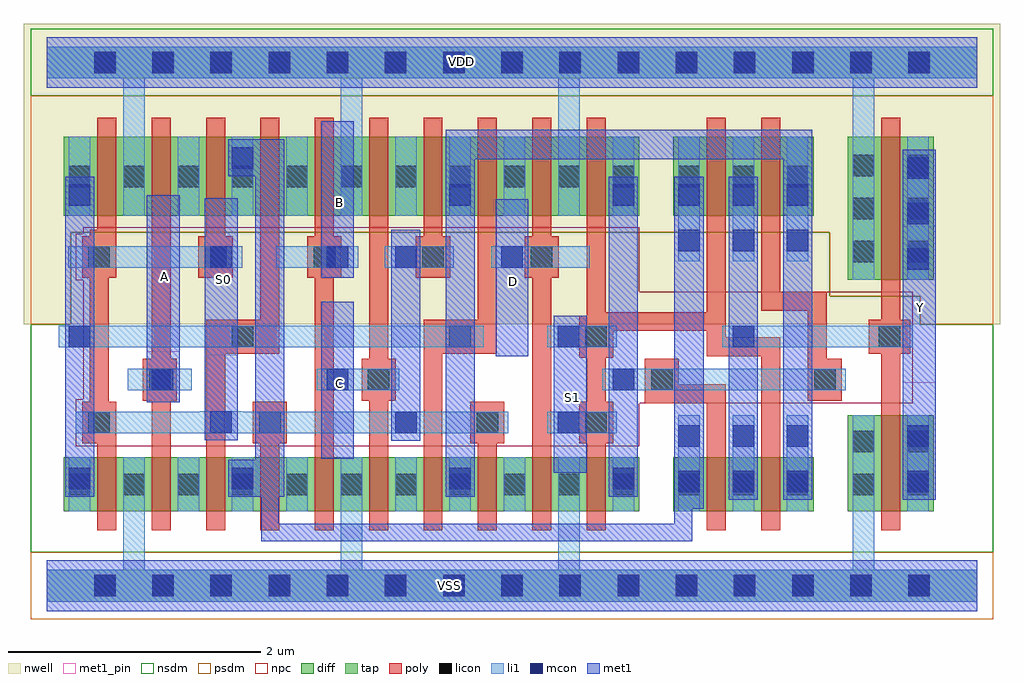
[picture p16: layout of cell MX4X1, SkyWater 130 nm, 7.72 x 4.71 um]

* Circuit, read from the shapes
.subckt MX4X1 A B C D S0 S1 VDD VSS Y
XM1 VSS S0 n1 VSS sky130_fd_pr__nfet_01v8 w=0.425 l=0.15
XM2 n2 A VSS VSS sky130_fd_pr__nfet_01v8 w=0.425 l=0.15
XM3 n3 n1 n2 VSS sky130_fd_pr__nfet_01v8 w=0.425 l=0.15
XM4 n4 S0 n3 VSS sky130_fd_pr__nfet_01v8 w=0.425 l=0.15
XM5 VSS B n4 VSS sky130_fd_pr__nfet_01v8 w=0.425 l=0.15
XM6 n5 C VSS VSS sky130_fd_pr__nfet_01v8 w=0.425 l=0.15
XM7 n6 n1 n5 VSS sky130_fd_pr__nfet_01v8 w=0.425 l=0.15
XM8 n7 S0 n6 VSS sky130_fd_pr__nfet_01v8 w=0.425 l=0.15
XM9 VSS D n7 VSS sky130_fd_pr__nfet_01v8 w=0.425 l=0.15
XM10 n8 S1 VSS VSS sky130_fd_pr__nfet_01v8 w=0.425 l=0.15
XM11 n9 n8 n3 VSS sky130_fd_pr__nfet_01v8 w=0.425 l=0.15
XM12 n6 S1 n9 VSS sky130_fd_pr__nfet_01v8 w=0.425 l=0.15
XM13 Y n9 VSS VSS sky130_fd_pr__nfet_01v8 w=0.76 l=0.15
XM14 VDD S0 n1 VDD sky130_fd_pr__pfet_01v8 w=0.625 l=0.15
XM15 n10 A VDD VDD sky130_fd_pr__pfet_01v8 w=0.625 l=0.15
XM16 n3 S0 n10 VDD sky130_fd_pr__pfet_01v8 w=0.625 l=0.15
XM17 n11 n1 n3 VDD sky130_fd_pr__pfet_01v8 w=0.625 l=0.15
XM18 VDD B n11 VDD sky130_fd_pr__pfet_01v8 w=0.625 l=0.15
XM19 n12 C VDD VDD sky130_fd_pr__pfet_01v8 w=0.625 l=0.15
XM20 n6 S0 n12 VDD sky130_fd_pr__pfet_01v8 w=0.625 l=0.15
XM21 n13 n1 n6 VDD sky130_fd_pr__pfet_01v8 w=0.625 l=0.15
XM22 VDD D n13 VDD sky130_fd_pr__pfet_01v8 w=0.625 l=0.15
XM23 n8 S1 VDD VDD sky130_fd_pr__pfet_01v8 w=0.625 l=0.15
XM24 n9 S1 n3 VDD sky130_fd_pr__pfet_01v8 w=0.625 l=0.15
XM25 n6 n8 n9 VDD sky130_fd_pr__pfet_01v8 w=0.625 l=0.15
XM26 Y n9 VDD VDD sky130_fd_pr__pfet_01v8 w=1.13 l=0.15
.ends

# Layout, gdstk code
from math import pi, radians
import gdstk
lib = gdstk.Library(unit=1e-6, precision=1e-09)
def R(c, l, rs):  # rectangles x0, y0, x1, y1
    for r in rs: c.add(gdstk.rectangle(r[:2], r[2:], *l))
def A(c, l, x, y, w, h, nx, ny, dx, dy):  # array of equal rectangles
    R(c, l, [(x+i*dx, y+j*dy, x+i*dx+w, y+j*dy+h) for i in range(nx) for j in range(ny)])
def P(c, l, *ps):  # polygons
    for p in ps: c.add(gdstk.Polygon(p, *l))
nwell = (64, 20)
diff = (65, 20)
tap = (65, 44)
poly = (66, 20)
licon = (66, 44)
li1 = (67, 20)
mcon = (67, 44)
met1_pin = (68, 16)
met1 = (68, 20)
nsdm = (93, 44)
psdm = (94, 20)
npc = (95, 20)

l1m1_c_cdns_750710154090 = lib.new_cell('L1M1_C_CDNS_750710154090')
R(l1m1_c_cdns_750710154090, li1, [(-0.165,-0.085,0.165,0.085)])
R(l1m1_c_cdns_750710154090, mcon, [(-0.085,-0.085,0.085,0.085)])
R(l1m1_c_cdns_750710154090, met1, [(-0.115,-0.145,0.115,0.145)])

pyl1con_c_cdns_750710154 = lib.new_cell('PYL1CON_C_CDNS_750710154092')
R(pyl1con_c_cdns_750710154, poly, [(-0.135,-0.165,0.135,0.165)])
R(pyl1con_c_cdns_750710154, licon, [(-0.085,-0.085,0.085,0.085)])
R(pyl1con_c_cdns_750710154, npc, [(-0.185,-0.185,0.185,0.185)])

l1m1_c_cdns_750710154091 = lib.new_cell('L1M1_C_CDNS_750710154091')
R(l1m1_c_cdns_750710154091, li1, [(-0.085,-0.165,0.085,0.165)])
R(l1m1_c_cdns_750710154091, mcon, [(-0.085,-0.085,0.085,0.085)])
R(l1m1_c_cdns_750710154091, met1, [(-0.115,-0.145,0.115,0.145)])

l1m1_c_cdns_750710154094 = lib.new_cell('L1M1_C_CDNS_750710154094')
R(l1m1_c_cdns_750710154094, li1, [(-0.085,-0.345,0.085,0.345)])
R(l1m1_c_cdns_750710154094, mcon, [(-0.085,-0.265,0.085,-0.095), (-0.085,0.095,0.085,0.265)])
R(l1m1_c_cdns_750710154094, met1, [(-0.115,-0.325,0.115,0.325)])

l1m1_c_cdns_750710154098 = lib.new_cell('L1M1_C_CDNS_750710154098')
R(l1m1_c_cdns_750710154098, li1, [(-0.085,-0.525,0.085,0.525)])
A(l1m1_c_cdns_750710154098, mcon, -0.085, -0.445, 0.17, 0.17, 1, 3, 0, 0.36)
R(l1m1_c_cdns_750710154098, met1, [(-0.115,-0.505,0.115,0.505)])

licondiff_c_cdns_7507101 = lib.new_cell('LICONDIFF_C_CDNS_7507101540911')
R(licondiff_c_cdns_7507101, diff, [(-0.125,-0.145,0.125,0.145)])
R(licondiff_c_cdns_7507101, licon, [(-0.085,-0.085,0.085,0.085), (-0.085,-0.085,0.085,0.085)])

c_pyl1con_c_cdns_750710154 = lib.new_cell('PYL1CON_C_CDNS_750710154099')
R(c_pyl1con_c_cdns_750710154, poly, [(-0.135,-0.29,0.135,0.29)])
R(c_pyl1con_c_cdns_750710154, licon, [(-0.085,-0.085,0.085,0.085)])
R(c_pyl1con_c_cdns_750710154, npc, [(-0.185,-0.185,0.185,0.185)])

mx4x1 = lib.new_cell('MX4X1')
R(mx4x1, nwell, [(-0.18,2.07,7.54,4.445), (6.155,2.24,7.195,3.73), (-0.045,2.745,0.785,3.73), (0.425,2.745,1.215,3.73), (0.855,2.745,1.645,3.73), (1.285,2.745,2.245,3.73), (1.885,2.745,2.505,3.73), (2.145,2.745,2.935,3.73), (2.575,2.745,3.365,3.73), (3.005,2.745,3.965,3.73), (3.605,2.745,4.395,3.73), (4.035,2.745,4.865,3.73), (4.775,2.745,5.775,3.73), (5.415,2.745,6.245,3.73), (-0.18,3.875,7.54,4.445)])
A(mx4x1, diff, 0.4, 0.59, 0.15, 0.425, 10, 1, 0.43, 0)
A(mx4x1, diff, 0.55, 0.59, 0.055, 0.425, 3, 1, 0.43, 0)
A(mx4x1, diff, 0.605, 0.59, 0.225, 0.425, 3, 1, 0.43, 0)
A(mx4x1, diff, 2.27, 0.59, 0.055, 0.425, 3, 1, 0.43, 0)
A(mx4x1, diff, 2.325, 0.59, 0.225, 0.425, 3, 1, 0.43, 0)
A(mx4x1, diff, 0.4, 2.925, 0.15, 0.625, 10, 1, 0.43, 0)
A(mx4x1, diff, 0.55, 2.925, 0.055, 0.625, 3, 1, 0.43, 0)
A(mx4x1, diff, 0.605, 2.925, 0.225, 0.625, 3, 1, 0.43, 0)
A(mx4x1, diff, 2.27, 2.925, 0.055, 0.625, 3, 1, 0.43, 0)
A(mx4x1, diff, 2.325, 2.925, 0.225, 0.625, 3, 1, 0.43, 0)
R(mx4x1, diff, [(0.135,0.59,0.4,1.015), (1.84,0.59,2.065,1.015), (2.065,0.59,2.12,1.015), (3.56,0.59,3.785,1.015), (3.785,0.59,3.84,1.015), (3.99,0.59,4.215,1.015), (4.215,0.59,4.27,1.015), (4.42,0.59,4.685,1.015), (4.955,0.59,5.22,1.015), (5.22,0.59,5.37,1.015), (5.37,0.59,5.595,1.015), (5.595,0.59,5.65,1.015), (5.65,0.59,5.8,1.015), (5.8,0.59,6.065,1.015), (6.335,0.59,6.6,1.35), (6.6,0.59,6.75,1.35), (6.75,0.59,7.015,1.35), (6.335,2.42,6.6,3.55), (6.6,2.42,6.75,3.55), (6.75,2.42,7.015,3.55), (0.135,2.925,0.4,3.55), (1.84,2.925,2.065,3.55), (2.065,2.925,2.12,3.55), (3.56,2.925,3.785,3.55), (3.785,2.925,3.84,3.55), (3.99,2.925,4.215,3.55), (4.215,2.925,4.27,3.55), (4.42,2.925,4.685,3.55), (4.955,2.925,5.22,3.55), (5.22,2.925,5.37,3.55), (5.37,2.925,5.595,3.55), (5.595,2.925,5.65,3.55), (5.65,2.925,5.8,3.55), (5.8,2.925,6.065,3.55)])
A(mx4x1, poly, 0.4, 0.44, 0.15, 0.055, 10, 2, 0.43, 0.67)
A(mx4x1, poly, 0.4, 0.495, 0.15, 0.095, 10, 2, 0.43, 0.52)
A(mx4x1, poly, 0.4, 0.59, 0.15, 0.425, 10, 1, 0.43, 0)
A(mx4x1, poly, 0.4, 2.725, 0.15, 0.055, 9, 1, 0.43, 0)
A(mx4x1, poly, 1.69, 2.83, 0.15, 0.095, 3, 1, 0.43, 0)
A(mx4x1, poly, 3.41, 2.83, 0.15, 0.095, 3, 1, 0.43, 0)
A(mx4x1, poly, 0.4, 2.925, 0.15, 0.625, 10, 1, 0.43, 0)
A(mx4x1, poly, 0.4, 3.55, 0.15, 0.095, 10, 1, 0.43, 0)
A(mx4x1, poly, 0.4, 3.645, 0.15, 0.055, 10, 1, 0.43, 0)
R(mx4x1, poly, [(5.22,0.44,5.37,0.495), (5.65,0.44,5.8,0.495), (6.6,0.44,6.75,0.495), (5.22,0.495,5.37,0.59), (5.65,0.495,5.8,0.59), (6.6,0.495,6.75,0.59), (5.22,0.59,5.37,1.015), (5.65,0.59,5.8,1.015), (6.6,0.59,6.75,1.35), (5.22,1.015,5.37,1.11), (5.65,1.015,5.8,1.11), (5.22,1.11,5.37,1.165), (5.65,1.11,5.8,1.165), (6.6,1.35,6.75,1.445), (6.6,1.445,6.75,1.5), (6.6,2.27,6.75,2.325), (6.6,2.325,6.75,2.42), (6.6,2.42,6.75,3.55), (1.26,2.71,1.41,2.925), (2.98,2.715,3.13,2.925), (0.4,2.75,0.55,2.925), (4.27,2.775,4.42,2.83), (5.22,2.775,5.37,2.83), (5.65,2.775,5.8,2.83), (0.83,2.83,0.98,2.925), (5.22,2.83,5.37,2.925), (5.65,2.83,5.8,2.925), (5.22,2.925,5.37,3.55), (5.65,2.925,5.8,3.55), (5.22,3.55,5.37,3.645), (5.65,3.55,5.8,3.645), (6.6,3.55,6.75,3.645), (5.22,3.645,5.37,3.7), (5.65,3.645,5.8,3.7), (6.6,3.645,6.75,3.7)])
A(mx4x1, licon, 0.375, -0.085, 0.17, 0.17, 15, 2, 0.46, 4.14)
A(mx4x1, licon, 0.605, 0.715, 0.17, 0.17, 5, 2, 0.86, 2.435)
A(mx4x1, licon, 4.995, 0.715, 0.17, 0.17, 3, 2, 0.43, 2.435)
A(mx4x1, licon, 6.375, 2.56, 0.17, 0.17, 1, 3, 0, 0.34)
A(mx4x1, licon, 6.805, 2.56, 0.17, 0.17, 1, 3, 0, 0.34)
R(mx4x1, licon, [(0.175,0.715,0.345,0.885), (4.475,0.715,4.645,0.885), (6.375,0.715,6.545,0.885), (6.805,0.715,6.975,0.885), (6.375,1.055,6.545,1.225), (6.805,1.055,6.975,1.225), (0.175,3.15,0.345,3.32), (4.475,3.15,4.645,3.32)])
A(mx4x1, li1, 0.605, 0.59, 0.17, 0.425, 5, 1, 0.86, 0)
A(mx4x1, li1, 4.995, 0.59, 0.17, 0.425, 3, 1, 0.43, 0)
A(mx4x1, li1, 0.605, 2.925, 0.17, 0.625, 5, 1, 0.86, 0)
A(mx4x1, li1, 4.995, 2.925, 0.17, 0.625, 3, 1, 0.43, 0)
R(mx4x1, li1, [(0.175,0.59,0.345,1.015), (4.475,0.59,4.645,1.015), (6.375,0.59,6.545,1.35), (6.805,0.59,6.975,1.35), (6.375,2.42,6.545,3.55), (6.805,2.42,6.975,3.55), (0.175,2.925,0.345,3.55), (4.475,2.925,4.645,3.55)])
A(mx4x1, mcon, 0.375, -0.085, 0.17, 0.17, 15, 2, 0.46, 4.14)
R(mx4x1, met1_pin, [(4.01,0.895,4.27,2.135), (2.17,1.005,2.43,2.245), (6.77,1.605,7.03,2.845), (3.55,1.815,3.81,3.055), (1.25,1.825,1.51,3.065), (0.79,1.85,1.05,3.09), (2.17,2.435,2.43,3.675)])
R(mx4x1, nsdm, [(-0.005,0.46,0.615,1.145), (0.595,0.46,1.045,1.145), (1.025,0.46,1.475,1.145), (1.455,0.46,2.075,1.145), (2.055,0.46,2.335,1.145), (2.315,0.46,2.765,1.145), (2.745,0.46,3.195,1.145), (3.175,0.46,3.795,1.145), (3.775,0.46,4.225,1.145), (4.205,0.46,4.825,1.145), (4.815,0.46,5.605,1.145), (5.585,0.46,6.205,1.145), (6.195,0.46,7.155,1.48), (-0.125,3.875,7.485,4.405), (-0.125,3.93,7.485,4.35)])
P(mx4x1, nsdm, [(7.485,2.07),(6.91,2.07),(6.91,2.29),(6.195,2.29),(6.195,2.795),(0.19,2.795),(0.19,2.07),(-0.125,2.07),(-0.125,0.265),(7.485,0.265)])
R(mx4x1, psdm, [(-0.125,-0.265,7.485,0.265), (-0.125,-0.21,7.485,0.21), (6.195,2.29,7.155,3.68), (-0.005,2.795,0.615,3.68), (0.595,2.795,1.045,3.68), (1.025,2.795,1.475,3.68), (1.455,2.795,2.075,3.68), (2.055,2.795,2.335,3.68), (2.315,2.795,2.765,3.68), (2.745,2.795,3.195,3.68), (3.175,2.795,3.795,3.68), (3.775,2.795,4.225,3.68), (4.205,2.795,4.825,3.68), (4.815,2.795,5.605,3.68), (5.585,2.795,6.205,3.68)])
P(mx4x1, psdm, [(7.485,3.875),(-0.125,3.875),(-0.125,2.07),(0.19,2.07),(0.19,2.795),(6.195,2.795),(6.195,2.29),(6.91,2.29),(6.91,2.07),(7.485,2.07)])
P(mx4x1, npc, [(6.85,2.325),(4.685,2.325),(4.685,2.835),(0.29,2.835),(0.29,1.105),(4.685,1.105),(4.685,1.445),(6.85,1.445)])
mx4x1.add(gdstk.FlexPath([(5.295,1.165),(5.295,1.52)], 0.15, ends="flush", simple_path=True, layer=66, datatype=20))  # poly
mx4x1.add(gdstk.FlexPath([(5.725,2.775),(5.725,2.25)], 0.15, ends=(0, 0.075), simple_path=True, layer=66, datatype=20))  # poly
mx4x1.add(gdstk.FlexPath([(6.675,1.445),(6.675,2.325)], 0.15, ends="flush", simple_path=True, layer=66, datatype=20))  # poly
mx4x1.add(gdstk.FlexPath([(3.915,1.11),(3.915,2.83)], 0.15, ends="flush", simple_path=True, layer=66, datatype=20))  # poly
mx4x1.add(gdstk.FlexPath([(4.345,1.11),(4.345,2.83)], 0.15, ends="flush", simple_path=True, layer=66, datatype=20))  # poly
mx4x1.add(gdstk.FlexPath([(0.905,1.11),(0.905,2.83)], 0.15, ends="flush", simple_path=True, layer=66, datatype=20))  # poly
mx4x1.add(gdstk.FlexPath([(2.195,1.11),(2.195,2.83)], 0.15, ends="flush", simple_path=True, layer=66, datatype=20))  # poly
mx4x1.add(gdstk.FlexPath([(2.625,1.11),(2.625,2.83)], 0.15, ends="flush", simple_path=True, layer=66, datatype=20))  # poly
mx4x1.add(gdstk.FlexPath([(5.295,1.89),(5.295,2.78)], 0.15, ends=(0.075, 0), simple_path=True, layer=66, datatype=20))  # poly
mx4x1.add(gdstk.FlexPath([(5.295,1.89),(5.725,1.89)], 0.15, ends="extended", simple_path=True, layer=66, datatype=20))  # poly
mx4x1.add(gdstk.FlexPath([(5.725,1.89),(5.725,1.16)], 0.15, ends=(0.075, 0), simple_path=True, layer=66, datatype=20))  # poly
mx4x1.add(gdstk.FlexPath([(5.725,2.25),(6.095,2.25)], 0.15, ends="extended", simple_path=True, layer=66, datatype=20))  # poly
mx4x1.add(gdstk.FlexPath([(6.095,2.25),(6.095,1.465)], 0.15, ends=(0.075, 0), simple_path=True, layer=66, datatype=20))  # poly
mx4x1.add(gdstk.FlexPath([(5.37,2.09),(4.27,2.09)], 0.15, ends="flush", simple_path=True, layer=66, datatype=20))  # poly
mx4x1.add(gdstk.FlexPath([(5.37,1.52),(4.73,1.52)], 0.15, ends="flush", simple_path=True, layer=66, datatype=20))  # poly
mx4x1.add(gdstk.FlexPath([(1.765,2.83),(1.765,1.97)], 0.15, ends=(0, 0.075), simple_path=True, layer=66, datatype=20))  # poly
mx4x1.add(gdstk.FlexPath([(1.765,1.97),(1.335,1.97)], 0.15, ends="extended", simple_path=True, layer=66, datatype=20))  # poly
mx4x1.add(gdstk.FlexPath([(1.335,1.97),(1.335,1.11)], 0.15, ends=(0.075, 0), simple_path=True, layer=66, datatype=20))  # poly
mx4x1.add(gdstk.FlexPath([(3.485,2.83),(3.485,1.97)], 0.15, ends=(0, 0.075), simple_path=True, layer=66, datatype=20))  # poly
mx4x1.add(gdstk.FlexPath([(3.485,1.97),(3.055,1.97)], 0.15, ends="extended", simple_path=True, layer=66, datatype=20))  # poly
mx4x1.add(gdstk.FlexPath([(3.055,1.97),(3.055,1.11)], 0.15, ends=(0.075, 0), simple_path=True, layer=66, datatype=20))  # poly
mx4x1.add(gdstk.FlexPath([(0.415,1.125),(0.415,2.74)], 0.15, ends=(0, 0.075), simple_path=True, layer=66, datatype=20))  # poly
mx4x1.add(gdstk.FlexPath([(0.415,2.74),(0.55,2.74)], 0.15, ends=(0.075, 0), simple_path=True, layer=66, datatype=20))  # poly
mx4x1.add(gdstk.FlexPath([(0,4.14),(7.36,4.14)], 0.4, ends="flush", simple_path=True, layer=68, datatype=16))  # met1_pin
mx4x1.add(gdstk.FlexPath([(0,0),(7.36,0)], 0.4, ends="flush", simple_path=True, layer=68, datatype=16))  # met1_pin
mx4x1.add(gdstk.FlexPath([(5.035,0.68),(5.04,0.68)], 0.14, ends=(0.07, 0.115), simple_path=True, layer=68, datatype=20))  # met1
mx4x1.add(gdstk.FlexPath([(5.035,0.42),(5.035,0.68)], 0.14, ends="extended", simple_path=True, layer=68, datatype=20))  # met1
mx4x1.add(gdstk.FlexPath([(1.765,0.42),(5.035,0.42)], 0.14, ends="extended", simple_path=True, layer=68, datatype=20))  # met1
mx4x1.add(gdstk.FlexPath([(1.765,0.88),(1.765,0.42)], 0.14, ends=(0, 0.07), simple_path=True, layer=68, datatype=20))  # met1
mx4x1.add(gdstk.FlexPath([(0,4.14),(7.36,4.14)], 0.4, ends="flush", simple_path=True, layer=68, datatype=20))  # met1
mx4x1.add(gdstk.FlexPath([(2.3,1.005),(2.3,2.245)], 0.26, ends="flush", simple_path=True, layer=68, datatype=20))  # met1
mx4x1.add(gdstk.FlexPath([(0.92,1.45),(0.92,3.09)], 0.26, ends="flush", simple_path=True, layer=68, datatype=20))  # met1
mx4x1.add(gdstk.FlexPath([(1.38,1.15),(1.38,3.065)], 0.26, ends="flush", simple_path=True, layer=68, datatype=20))  # met1
mx4x1.add(gdstk.FlexPath([(0.26,0.705),(0.26,3.235)], 0.23, ends="flush", simple_path=True, layer=68, datatype=20))  # met1
mx4x1.add(gdstk.FlexPath([(6.9,0.68),(6.9,3.45)], 0.26, ends="flush", simple_path=True, layer=68, datatype=20))  # met1
mx4x1.add(gdstk.FlexPath([(5.51,0.68),(5.51,3.235)], 0.23, ends="flush", simple_path=True, layer=68, datatype=20))  # met1
mx4x1.add(gdstk.FlexPath([(1.765,0.705),(1.765,3.53)], 0.23, ends="flush", simple_path=True, layer=68, datatype=20))  # met1
mx4x1.add(gdstk.FlexPath([(4.56,0.705),(4.56,3.235)], 0.23, ends="flush", simple_path=True, layer=68, datatype=20))  # met1
mx4x1.add(gdstk.FlexPath([(5.08,0.68),(5.08,3.235)], 0.23, ends=(0.07, 0), simple_path=True, layer=68, datatype=20))  # met1
mx4x1.add(gdstk.FlexPath([(5.94,0.68),(5.94,3.49)], 0.23, ends=(0, 0.115), simple_path=True, layer=68, datatype=20))  # met1
mx4x1.add(gdstk.FlexPath([(3.27,0.705),(3.27,3.49)], 0.23, ends=(0, 0.115), simple_path=True, layer=68, datatype=20))  # met1
mx4x1.add(gdstk.FlexPath([(5.94,3.49),(3.27,3.49)], 0.23, ends="extended", simple_path=True, layer=68, datatype=20))  # met1
mx4x1.add(gdstk.FlexPath([(4.14,0.895),(4.14,2.135)], 0.26, ends="flush", simple_path=True, layer=68, datatype=20))  # met1
mx4x1.add(gdstk.FlexPath([(3.68,1.815),(3.68,3.055)], 0.26, ends="flush", simple_path=True, layer=68, datatype=20))  # met1
mx4x1.add(gdstk.FlexPath([(2.3,2.435),(2.3,3.675)], 0.26, ends="flush", simple_path=True, layer=68, datatype=20))  # met1
mx4x1.add(gdstk.FlexPath([(2.84,2.815),(2.84,1.145)], 0.23, ends="flush", simple_path=True, layer=68, datatype=20))  # met1
mx4x1.add(gdstk.FlexPath([(0,0),(7.36,0)], 0.4, ends="flush", simple_path=True, layer=68, datatype=20))  # met1
mx4x1.add(gdstk.FlexPath([(0,0),(7.36,0)], 0.25, ends="flush", simple_path=True, layer=67, datatype=20))  # li1
mx4x1.add(gdstk.FlexPath([(0,4.14),(7.36,4.14)], 0.25, ends="flush", simple_path=True, layer=67, datatype=20))  # li1
mx4x1.add(gdstk.FlexPath([(6.46,2.925),(6.46,4.14)], 0.17, ends=(0, 0.125), simple_path=True, layer=67, datatype=20))  # li1
mx4x1.add(gdstk.FlexPath([(6.46,1.015),(6.46,0)], 0.17, ends=(0, 0.125), simple_path=True, layer=67, datatype=20))  # li1
mx4x1.add(gdstk.FlexPath([(3.965,1.97),(4.51,1.97)], 0.17, ends="flush", simple_path=True, layer=67, datatype=20))  # li1
mx4x1.add(gdstk.FlexPath([(0.69,1.015),(0.69,0)], 0.17, ends=(0, 0.125), simple_path=True, layer=67, datatype=20))  # li1
mx4x1.add(gdstk.FlexPath([(0.64,1.63),(1.145,1.63)], 0.17, ends="flush", simple_path=True, layer=67, datatype=20))  # li1
mx4x1.add(gdstk.FlexPath([(0.49,1.375),(0.49,1.29)], 0.17, ends=(0, 0.085), simple_path=True, layer=67, datatype=20))  # li1
mx4x1.add(gdstk.FlexPath([(0.23,1.29),(3.65,1.29)], 0.17, ends="flush", simple_path=True, layer=67, datatype=20))  # li1
mx4x1.add(gdstk.FlexPath([(0.69,2.925),(0.69,4.14)], 0.17, ends=(0, 0.125), simple_path=True, layer=67, datatype=20))  # li1
mx4x1.add(gdstk.FlexPath([(5.345,1.97),(6.85,1.97)], 0.17, ends="flush", simple_path=True, layer=67, datatype=20))  # li1
mx4x1.add(gdstk.FlexPath([(4.395,1.63),(6.32,1.63)], 0.17, ends="flush", simple_path=True, layer=67, datatype=20))  # li1
mx4x1.add(gdstk.FlexPath([(0.17,2.6),(1.5,2.6)], 0.17, ends="flush", simple_path=True, layer=67, datatype=20))  # li1
mx4x1.add(gdstk.FlexPath([(3.22,2.6),(2.675,2.6)], 0.17, ends="flush", simple_path=True, layer=67, datatype=20))  # li1
mx4x1.add(gdstk.FlexPath([(3.7,0.59),(3.7,1.015)], 0.17, ends="flush", simple_path=True, layer=67, datatype=20))  # li1
mx4x1.add(gdstk.FlexPath([(3.7,2.925),(3.7,3.55)], 0.17, ends="flush", simple_path=True, layer=67, datatype=20))  # li1
mx4x1.add(gdstk.FlexPath([(2.41,1.015),(2.41,0)], 0.17, ends=(0, 0.125), simple_path=True, layer=67, datatype=20))  # li1
mx4x1.add(gdstk.FlexPath([(2.41,2.925),(2.41,4.14)], 0.17, ends=(0, 0.125), simple_path=True, layer=67, datatype=20))  # li1
mx4x1.add(gdstk.FlexPath([(4.13,1.015),(4.13,0)], 0.17, ends=(0, 0.125), simple_path=True, layer=67, datatype=20))  # li1
mx4x1.add(gdstk.FlexPath([(4.13,2.925),(4.13,4.14)], 0.17, ends=(0, 0.125), simple_path=True, layer=67, datatype=20))  # li1
mx4x1.add(gdstk.FlexPath([(3.965,1.29),(4.51,1.29)], 0.17, ends="flush", simple_path=True, layer=67, datatype=20))  # li1
mx4x1.add(gdstk.FlexPath([(3.75,2.6),(4.295,2.6)], 0.17, ends="flush", simple_path=True, layer=67, datatype=20))  # li1
mx4x1.add(gdstk.FlexPath([(2.79,1.63),(2.245,1.63)], 0.17, ends="flush", simple_path=True, layer=67, datatype=20))  # li1
mx4x1.add(gdstk.FlexPath([(2.36,2.6),(1.815,2.6)], 0.17, ends="flush", simple_path=True, layer=67, datatype=20))  # li1
mx4x1.add(gdstk.FlexPath([(0.095,1.97),(3.455,1.97)], 0.17, ends="flush", simple_path=True, layer=67, datatype=20))  # li1
mx4x1.add(gdstk.FlexPath([(1.12,0.59),(1.12,1.015)], 0.17, ends="flush", simple_path=True, layer=67, datatype=20))  # li1
mx4x1.add(gdstk.FlexPath([(1.12,2.925),(1.12,3.55)], 0.17, ends="flush", simple_path=True, layer=67, datatype=20))  # li1
mx4x1.add(gdstk.FlexPath([(1.98,0.59),(1.98,1.015)], 0.17, ends="flush", simple_path=True, layer=67, datatype=20))  # li1
mx4x1.add(gdstk.FlexPath([(1.98,2.925),(1.98,3.55)], 0.17, ends="flush", simple_path=True, layer=67, datatype=20))  # li1
mx4x1.add(gdstk.FlexPath([(2.84,0.59),(2.84,1.015)], 0.17, ends="flush", simple_path=True, layer=67, datatype=20))  # li1
mx4x1.add(gdstk.FlexPath([(2.84,2.925),(2.84,3.55)], 0.17, ends="flush", simple_path=True, layer=67, datatype=20))  # li1
mx4x1.add(gdstk.FlexPath([(0,4.14),(7.36,4.14)], 0.25, ends="flush", simple_path=True, layer=65, datatype=44))  # tap
mx4x1.add(gdstk.FlexPath([(0,0),(7.36,0)], 0.25, ends="flush", simple_path=True, layer=65, datatype=44))  # tap
mx4x1.add(gdstk.Reference(l1m1_c_cdns_750710154090, (2.84,1.29), rotation=pi, x_reflection=True))
mx4x1.add(gdstk.Reference(l1m1_c_cdns_750710154090, (2.84,2.6)))
mx4x1.add(gdstk.Reference(l1m1_c_cdns_750710154090, (2.3,2.6), x_reflection=True))
mx4x1.add(gdstk.Reference(l1m1_c_cdns_750710154090, (2.3,1.63), x_reflection=True))
mx4x1.add(gdstk.Reference(l1m1_c_cdns_750710154090, (0.26,1.97), rotation=pi, x_reflection=True))
mx4x1.add(gdstk.Reference(l1m1_c_cdns_750710154090, (3.68,2.6), x_reflection=True))
mx4x1.add(gdstk.Reference(l1m1_c_cdns_750710154090, (4.125,1.97), x_reflection=True))
mx4x1.add(gdstk.Reference(l1m1_c_cdns_750710154090, (4.56,1.63)))
mx4x1.add(gdstk.Reference(l1m1_c_cdns_750710154090, (4.125,1.29), x_reflection=True))
mx4x1.add(gdstk.Reference(l1m1_c_cdns_750710154090, (5.51,1.97)))
mx4x1.add(gdstk.Reference(l1m1_c_cdns_750710154090, (1.38,2.6), x_reflection=True))
mx4x1.add(gdstk.Reference(l1m1_c_cdns_750710154090, (1.38,1.295), x_reflection=True))
mx4x1.add(gdstk.Reference(l1m1_c_cdns_750710154090, (0.915,1.63), x_reflection=True))
mx4x1.add(gdstk.Reference(pyl1con_c_cdns_750710154, (3.055,2.6), x_reflection=True))
mx4x1.add(gdstk.Reference(pyl1con_c_cdns_750710154, (1.335,2.6), rotation=pi))
mx4x1.add(gdstk.Reference(pyl1con_c_cdns_750710154, (0.415,2.6), rotation=pi))
mx4x1.add(gdstk.Reference(pyl1con_c_cdns_750710154, (2.195,2.6), x_reflection=True))
mx4x1.add(gdstk.Reference(pyl1con_c_cdns_750710154, (2.625,1.63)))
mx4x1.add(gdstk.Reference(pyl1con_c_cdns_750710154, (3.485,1.29), rotation=pi))
mx4x1.add(gdstk.Reference(pyl1con_c_cdns_750710154, (1.765,1.29), rotation=pi))
mx4x1.add(gdstk.Reference(pyl1con_c_cdns_750710154, (3.915,2.6), rotation=pi))
mx4x1.add(gdstk.Reference(pyl1con_c_cdns_750710154, (4.345,1.29), x_reflection=True))
mx4x1.add(gdstk.Reference(pyl1con_c_cdns_750710154, (4.865,1.63)))
mx4x1.add(gdstk.Reference(pyl1con_c_cdns_750710154, (6.155,1.63)))
mx4x1.add(gdstk.Reference(pyl1con_c_cdns_750710154, (4.345,1.97), x_reflection=True))
mx4x1.add(gdstk.Reference(pyl1con_c_cdns_750710154, (6.665,1.97), rotation=3*pi/2))
mx4x1.add(gdstk.Reference(pyl1con_c_cdns_750710154, (0.415,1.29), rotation=pi))
mx4x1.add(gdstk.Reference(pyl1con_c_cdns_750710154, (0.895,1.63)))
mx4x1.add(gdstk.Reference(l1m1_c_cdns_750710154091, (4.56,3.09), rotation=pi, x_reflection=True))
mx4x1.add(gdstk.Reference(l1m1_c_cdns_750710154091, (4.56,0.85), rotation=pi, x_reflection=True))
mx4x1.add(gdstk.Reference(l1m1_c_cdns_750710154091, (3.27,3.09), rotation=pi, x_reflection=True))
mx4x1.add(gdstk.Reference(l1m1_c_cdns_750710154091, (3.27,0.85), rotation=pi, x_reflection=True))
mx4x1.add(gdstk.Reference(l1m1_c_cdns_750710154091, (1.55,3.385), rotation=pi, x_reflection=True))
mx4x1.add(gdstk.Reference(l1m1_c_cdns_750710154091, (1.55,0.85), rotation=pi, x_reflection=True))
mx4x1.add(gdstk.Reference(l1m1_c_cdns_750710154091, (0.26,0.85), rotation=pi, x_reflection=True))
mx4x1.add(gdstk.Reference(l1m1_c_cdns_750710154091, (0.26,3.09), rotation=pi, x_reflection=True))
mx4x1.add(gdstk.Reference(l1m1_c_cdns_750710154094, (5.94,1.005)))
mx4x1.add(gdstk.Reference(l1m1_c_cdns_750710154094, (5.94,2.91)))
mx4x1.add(gdstk.Reference(l1m1_c_cdns_750710154094, (5.08,1.005)))
mx4x1.add(gdstk.Reference(l1m1_c_cdns_750710154094, (5.08,2.91)))
mx4x1.add(gdstk.Reference(l1m1_c_cdns_750710154094, (5.51,2.91)))
mx4x1.add(gdstk.Reference(l1m1_c_cdns_750710154094, (5.51,1.005)))
mx4x1.add(gdstk.Reference(l1m1_c_cdns_750710154094, (6.89,1.005)))
mx4x1.add(gdstk.Reference(l1m1_c_cdns_750710154098, (6.89,2.945)))
mx4x1.add(gdstk.Reference(licondiff_c_cdns_7507101, (3.7,3.235)))
mx4x1.add(gdstk.Reference(licondiff_c_cdns_7507101, (3.7,0.8)))
mx4x1.add(gdstk.Reference(licondiff_c_cdns_7507101, (2.84,3.235)))
mx4x1.add(gdstk.Reference(licondiff_c_cdns_7507101, (2.84,0.8)))
mx4x1.add(gdstk.Reference(licondiff_c_cdns_7507101, (1.98,3.235)))
mx4x1.add(gdstk.Reference(licondiff_c_cdns_7507101, (1.98,0.8)))
mx4x1.add(gdstk.Reference(licondiff_c_cdns_7507101, (1.12,3.235)))
mx4x1.add(gdstk.Reference(licondiff_c_cdns_7507101, (1.12,0.8)))
mx4x1.add(gdstk.Reference(c_pyl1con_c_cdns_750710154, (1.55,1.97), rotation=3*pi/2))
mx4x1.add(gdstk.Reference(c_pyl1con_c_cdns_750710154, (3.27,1.97), rotation=3*pi/2))
mx4x1.add(gdstk.Label('VSS', (3.185,0.005), layer=68, texttype=5))
mx4x1.add(gdstk.Label('VDD', (3.28,4.145), layer=68, texttype=5))
mx4x1.add(gdstk.Label('Y', (6.915,2.2), layer=68, texttype=5))
mx4x1.add(gdstk.Label('C', (2.315,1.6), layer=68, texttype=5))
mx4x1.add(gdstk.Label('A', (0.935,2.445), layer=68, texttype=5))
mx4x1.add(gdstk.Label('D', (3.695,2.41), layer=68, texttype=5))
mx4x1.add(gdstk.Label('B', (2.315,3.03), layer=68, texttype=5))
mx4x1.add(gdstk.Label('S0', (1.395,2.42), layer=68, texttype=5))
mx4x1.add(gdstk.Label('S1', (4.155,1.49), layer=68, texttype=5))

lib.write_gds('MX4X1.gds')
